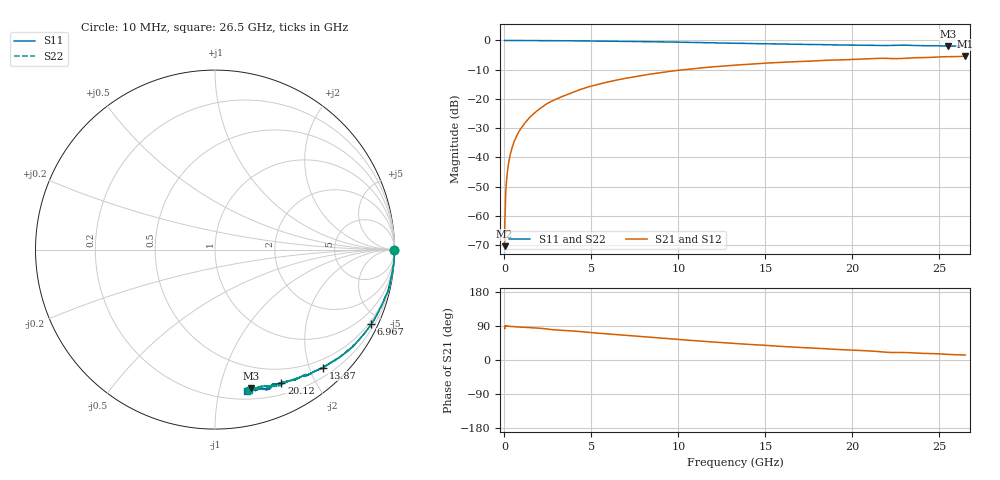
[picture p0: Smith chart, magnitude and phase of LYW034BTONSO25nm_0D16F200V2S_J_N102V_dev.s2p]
!Keysight Technologies,N5222B,MY61253708,A.15.00.15
!Date: Wednesday, June 19, 2024 09:39:13
!Correction: S11(C  2-Port  )
!S21(C  2-Port  )
!S12(C  2-Port  )
!S22(C  2-Port  )
!S2P File: Measurements: S11, S21, S12, S22:
# Hz S  RI  R 50
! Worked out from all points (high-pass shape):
!   2651 points, 10 MHz to 26.5 GHz, reference 50 ohm
!   highest |S21| = -5.38 dB at 26.5 GHz (marker M1); lowest = -70.4 dB at 10 MHz (marker M2)
!   |S21| within 3 dB of the highest: 13.44 GHz to end of sweep
!   lowest |S11| = -2.0 dB at 25.5 GHz (marker M3), VSWR 8.82, Z = 14.8 - j62.4 ohm
!   |S11| at or under -10 dB: nowhere
!   |S22| runs from -1.9 to 0.0 dB; largest |S21 - S12| = 0.0068
!   S11 on the Smith chart (normalised r, x): 10 MHz: open; 6.967 GHz: 0.37, -4.38; 13.87 GHz: 0.35, -2.23; 20.12 GHz: 0.33, -1.57; 26.5 GHz: 0.27, -1.22
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1e7  0.9986 -0.00268  3.25e-05 0.000299  7.39e-05 0.000677  0.9983 -0.000881
7.997358e7  0.9999 -0.00573  -5.91e-06 0.00264  -8.87e-06 0.00263  0.9994 -0.0053
1.599434e8  0.9999 -0.0114  5.2e-05 0.00533  6.35e-05 0.00535  0.9996 -0.0108
1.999283e8  1 -0.0136  9.18e-05 0.00664  8.61e-05 0.0067  0.9997 -0.013
2.599057e8  0.9996 -0.0178  0.000128 0.00863  0.000145 0.00868  0.9996 -0.0172
3.598679e8  0.9994 -0.0247  0.000311 0.0119  0.000288 0.0121  0.9994 -0.0241
4.898189e8  0.9988 -0.0333  0.000542 0.0162  0.00055 0.0164  0.9989 -0.0323
6.497585e8  0.9985 -0.0435  0.00091 0.0215  0.000913 0.0217  0.9985 -0.0427
8.396868e8  0.998 -0.0561  0.00151 0.0277  0.00152 0.0279  0.998 -0.0559
1.459453e9  0.9905 -0.0984  0.00367 0.0484  0.00372 0.0487  0.993 -0.095
2.339121e9  0.9815 -0.1525  0.0101 0.0783  0.0104 0.0788  0.9827 -0.1533
3.198796e9  0.9708 -0.2075  0.0212 0.1041  0.0215 0.1047  0.9702 -0.2075
4.428332e9  0.9421 -0.2812  0.0387 0.142  0.0393 0.1429  0.9434 -0.2791
6.967374e9  0.8697 -0.4162  0.0954 0.2036  0.0967 0.2044  0.8695 -0.4178
8.846664e9  0.8018 -0.5027  0.1458 0.2369  0.1476 0.2376  0.8022 -0.502
1.3255e10  0.6254 -0.6424  0.2734 0.2606  0.276 0.2603  0.6275 -0.6414
1.387477e10  0.6017 -0.6569  0.2893 0.2592  0.2919 0.2579  0.6007 -0.6558
1.767333e10  0.4532 -0.721  0.3794 0.2324  0.3832 0.2304  0.4618 -0.7186
2.012241e10  0.3701 -0.7407  0.4273 0.2059  0.4309 0.2035  0.3831 -0.7415
2.209166e10  0.3182 -0.7533  0.4616 0.1701  0.4636 0.1667  0.3104 -0.7589
2.550038e10  0.1996 -0.771  0.5105 0.1335  0.512 0.1326  0.2183 -0.7728
2.65e10  0.1801 -0.7851  0.5239 0.1223  0.5235 0.1179  0.1918 -0.7825
